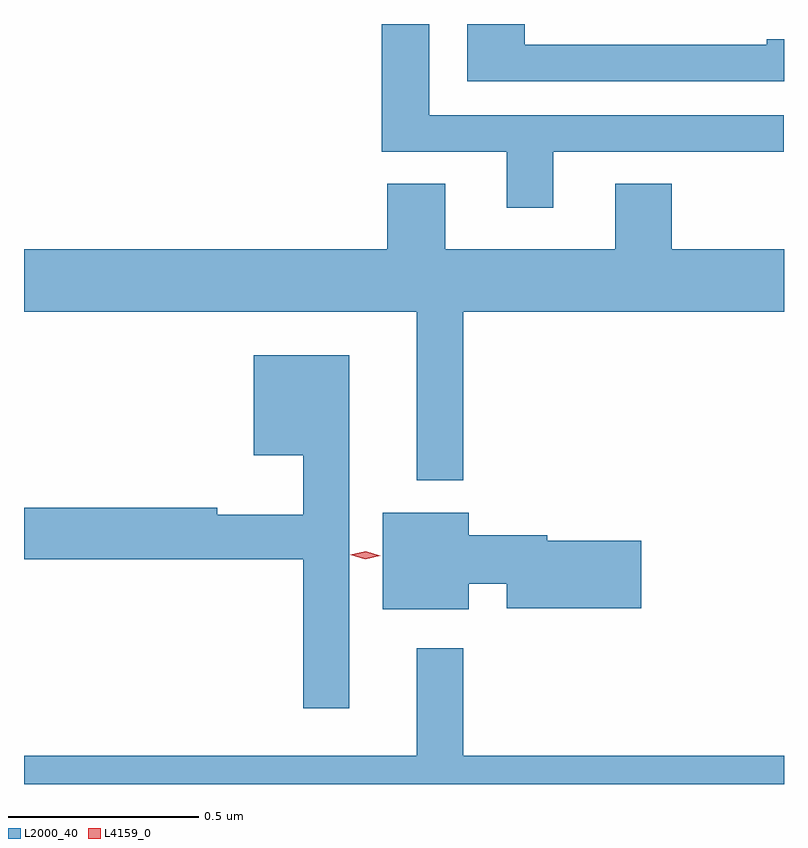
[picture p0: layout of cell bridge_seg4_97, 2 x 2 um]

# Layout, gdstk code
import gdstk
lib = gdstk.Library(unit=1e-6, precision=1e-09)
def P(c, l, *ps):  # polygons
    for p in ps: c.add(gdstk.Polygon(p, *l))
L2000_40 = (2000, 40)
L4159_0 = (4159, 0)

bridge_seg4_97 = lib.new_cell('bridge_seg4_97')
P(bridge_seg4_97, L2000_40, [(395.476,767.937),(396.082,767.937),(396.082,768.033),(395.149,768.033),(395.149,768.273),(395.024,768.273),(395.024,767.937),(395.354,767.937),(395.354,767.79),(395.476,767.79)],
  [(396.083,768.233),(396.038,768.233),(396.038,768.219),(395.401,768.219),(395.401,768.273),(395.249,768.273),(395.249,768.123),(396.083,768.123)],
  [(395.239,767.516),(396.083,767.516),(396.083,767.68),(395.787,767.68),(395.787,767.852),(395.639,767.852),(395.639,767.68),(395.191,767.68),(395.191,767.852),(395.039,767.852),(395.039,767.68),(394.083,767.68),(394.083,767.516),(395.117,767.516),(395.117,767.072),(395.239,767.072)],
  [(394.939,767.401),(394.688,767.401),(394.688,767.138),(394.818,767.138),(394.818,766.981),(394.592,766.981),(394.592,767),(394.083,767),(394.083,766.864),(394.818,766.864),(394.818,766.473),(394.939,766.473)],
  [(395.254,766.8),(395.354,766.8),(395.354,766.735),(395.707,766.735),(395.707,766.913),(395.46,766.913),(395.46,766.928),(395.254,766.928),(395.254,766.987),(395.027,766.987),(395.027,766.733),(395.254,766.733)],
  [(396.083,766.348),(395.239,766.348),(395.239,766.63),(395.117,766.63),(395.117,766.348),(394.083,766.348),(394.083,766.273),(396.083,766.273)])
P(bridge_seg4_97, L4159_0, [(394.981,766.865),(394.941,766.876),(394.941,766.876),(394.941,766.876),(394.982,766.885),(395.021,766.874),(395.021,766.874),(395.021,766.874)])

lib.write_gds('bridge_seg4_97.gds')
